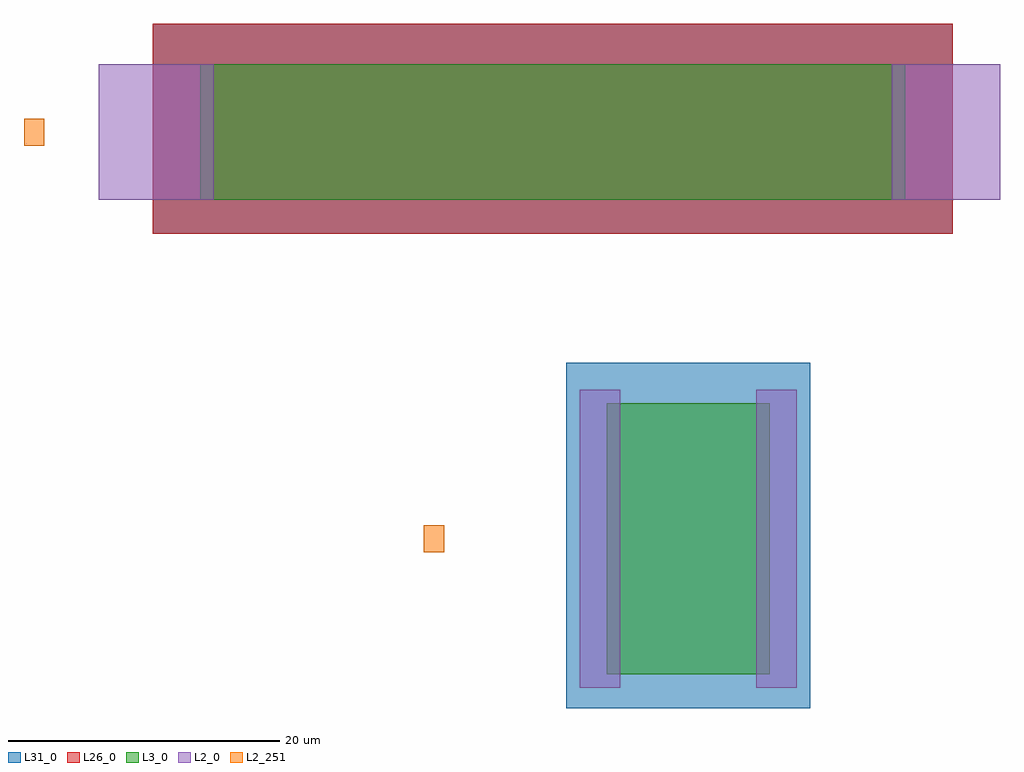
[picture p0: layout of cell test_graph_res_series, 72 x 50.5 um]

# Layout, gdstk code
import gdstk
lib = gdstk.Library(unit=1e-6, precision=5e-10)
def R(c, l, rs):  # rectangles x0, y0, x1, y1
    for r in rs: c.add(gdstk.rectangle(r[:2], r[2:], *l))
L2_0 = (2, 0)
L2_251 = (2, 251)
L3_0 = (3, 0)
L26_0 = (26, 0)
L31_0 = (31, 0)

test_graph_res_series = lib.new_cell('test_graph_res_series')
R(test_graph_res_series, L2_0, [(27,-36,30,-14), (40,-36,43,-14), (-8.5,0,0,10), (50,0,58,10)])
R(test_graph_res_series, L2_251, [(15.5,-26,17,-24), (-14,4,-12.5,6)])
R(test_graph_res_series, L3_0, [(29,-35,41,-15), (-1,0,51,10)])
R(test_graph_res_series, L26_0, [(-4.5,-2.5,54.5,13)])
R(test_graph_res_series, L31_0, [(26,-37.5,44,-12), (-4.5,-2.5,54.5,13)])

lib.write_gds('test_graph_res_series.gds')
